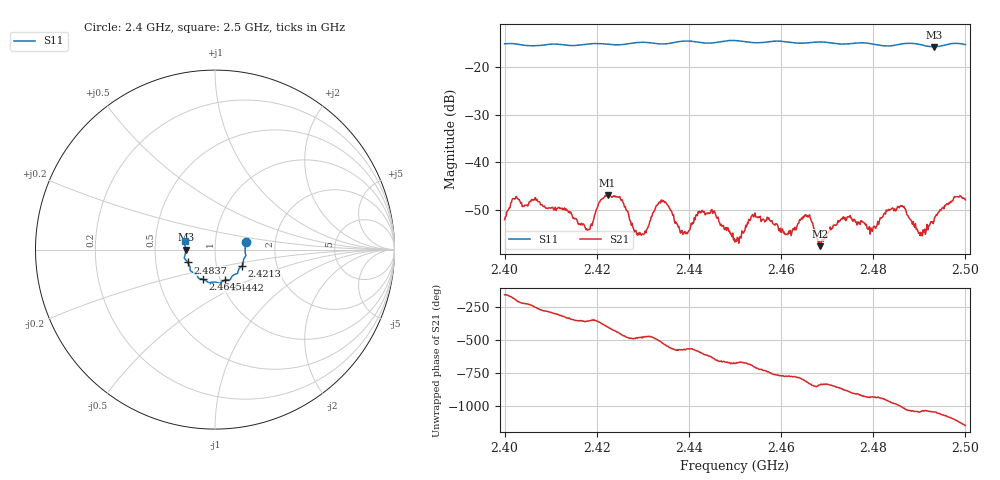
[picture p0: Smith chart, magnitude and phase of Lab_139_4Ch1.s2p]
# Hz S RI R 50
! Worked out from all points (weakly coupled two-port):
!   601 points, 2.4 GHz to 2.5 GHz, reference 50 ohm
!   highest |S21| = -46.88 dB at 2.4223 GHz (marker M1); lowest = -57.7 dB at 2.4685 GHz (marker M2)
!   lowest |S11| = -15.7 dB at 2.4932 GHz (marker M3), VSWR 1.39, Z = 36 - j0.0543 ohm
!   |S11| at or under -10 dB: start of sweep to end of sweep
!   S12 and S22 are empty: the file has one direction only
!   S11 on the Smith chart (normalised r, x): 2.4 GHz: 1.41, +0.12; 2.4213 GHz: 1.33, -0.25; 2.4442 GHz: 1.05, -0.37; 2.4645 GHz: 0.83, -0.29; 2.4837 GHz: 0.73, -0.11; 2.5 GHz: 0.71, +0.07
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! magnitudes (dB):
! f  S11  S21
! 2.4 GHz  -15.1  -52.1
! 2.4022 GHz  -15.1  -47.8
! 2.4065 GHz  -15.5  -47.9
! 2.4167 GHz  -15.3  -52.9
! 2.4185 GHz  -15.1  -54.2
! 2.4213 GHz  -15.1  -47.7
! 2.4223 GHz  -15.2  -46.9
! 2.4292 GHz  -14.8  -55.3
! 2.4333 GHz  -15.1  -48.7
! 2.4392 GHz  -14.5  -54.6
! 2.4442 GHz  -15.0  -50.7
! 2.45 GHz  -14.4  -56.8
! 2.454 GHz  -14.9  -51.5
! 2.461 GHz  -14.7  -55.2
! 2.4645 GHz  -15.0  -51.7
! 2.4667 GHz  -14.8  -52.6
! 2.4685 GHz  -14.7  -57.7
! 2.4833 GHz  -15.6  -49.9
! 2.4837 GHz  -15.5  -50.0
! 2.4902 GHz  -15.2  -55.5
! 2.4932 GHz  -15.7  -52.4
! 2.5 GHz  -15.3  -48.0
